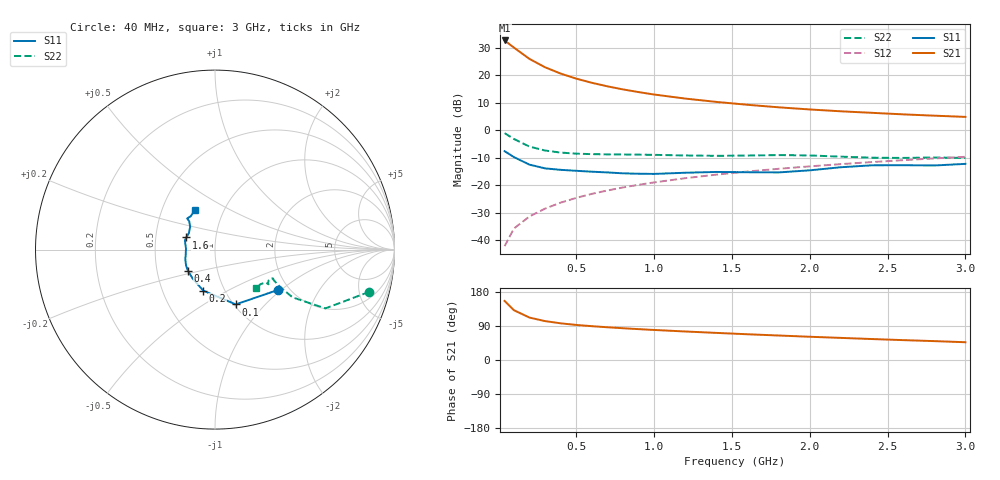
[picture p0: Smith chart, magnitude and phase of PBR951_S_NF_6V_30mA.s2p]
! Filename:  PBR951Q.S2P  Version:  3.0
! Philips part #:  PBR951  Date: July 1998
! Bias condition:  Vce=6V, Ic=30mA
#  MHz  S  MA  R 50
! Freq  S11  S21  S12  S22
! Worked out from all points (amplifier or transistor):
!   21 points, 40 MHz to 3 GHz, reference 50 ohm
!   highest |S21| = 32.7 dB at 40 MHz (marker M1)
!   |S21| within 3 dB of that: start of sweep to 109.7 MHz
!   unconditionally stable (mu >= 1): 554.4 MHz to 2.105 GHz
!   at 300 MHz: K = 0.92, MSG = 25.7 dB, |S12| = -28.4 dB
!   at 1 GHz: K = 1.03, MAG = 14.9 dB, |S12| = -18.9 dB
!   at 3 GHz: K = 0.96, MSG = 7.3 dB, |S12| = -9.6 dB
!   lowest NFmin = 1.94 dB at 500 MHz
!   S11 on the Smith chart (normalised r, x): 40 MHz: 1.76, -0.96; 100 MHz: 1.02, -0.70; 200 MHz: 0.79, -0.39; 400 MHz: 0.72, -0.18; 1.6 GHz: 0.72, +0.10; 3 GHz: 0.73, +0.34
40  0.4184 -32.3  42.96 155.8  0.007871 79.8  0.8907 -15.3
100  0.3265 -69.3  31.85 131.3  0.01649 73.2  0.6967 -28.1
200  0.238 -105.9  19.83 111.9  0.02732 73.5  0.507 -31.6
300  0.2038 -127.5  13.99 102.6  0.03785 75.6  0.4298 -30.1
400  0.1917 -141.4  10.75 96.8  0.04863 76.6  0.3947 -28.8
500  0.1842 -150.7  8.704 92.5  0.0593 77.7  0.3775 -28.0
600  0.1775 -157.6  7.312 89.2  0.07017 78.3  0.3695 -27.6
700  0.1721 -164.0  6.311 86.4  0.0808 78.5  0.3663 -27.2
800  0.1657 -169.9  5.547 83.8  0.09174 78.6  0.3645 -26.9
900  0.1629 -175.8  4.956 81.5  0.1025 78.6  0.3622 -26.6
1000  0.1617 177.7  4.478 79.3  0.1132 78.3  0.359 -26.5
1200  0.1698 168.1  3.779 75.3  0.1352 77.6  0.3498 -27.4
1400  0.1756 162.0  3.287 71.5  0.1569 76.9  0.3447 -29.7
1600  0.1733 156.9  2.915 67.9  0.1788 76.0  0.3489 -32.1
1800  0.1721 147.6  2.621 64.6  0.2003 75.0  0.3553 -33.0
2000  0.1878 137.4  2.397 61.3  0.2216 73.8  0.3502 -32.7
2200  0.2137 132.2  2.218 58.3  0.2436 72.5  0.3331 -33.6
2400  0.2319 131.9  2.082 55.3  0.2655 71.4  0.3183 -37.3
2600  0.2328 131.6  1.952 52.5  0.2872 70.3  0.3157 -42.0
2800  0.2299 125.9  1.848 49.8  0.3094 68.8  0.3211 -44.2
3000  0.2462 117.6  1.756 46.9  0.3307 67.4  0.3156 -43.4
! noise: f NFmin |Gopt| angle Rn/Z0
500  1.941  0.121  168.1  0.293
800  2.105  0.181  168.6  0.17
900  2.129  0.214  178.8  0.156
1000  2.203  0.28  -174.3  0.101
1500  2.45  0.406  -158.4  0.077
2000  2.893  0.392  -129.6  0.291
